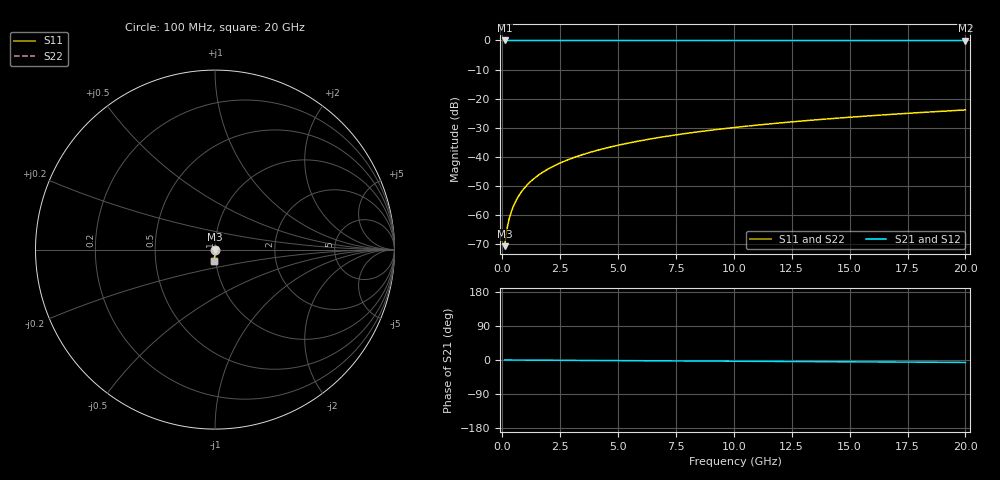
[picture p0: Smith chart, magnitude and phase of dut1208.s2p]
! Touchstone file exported from HFSS 2026.1.0
!  File:  C:/ffzhzh/LocalFiles/Ansys_Project_Files/temp_train_TSV_1208_1783192779_43440.aedt
!  Generated:  03:20:53 AM Jul  5, 2026
!  Design:  TSV
!  Project:  temp_train_TSV_1208_1783192779_43440
! Variables:
!  h_bsmrdl = 2um
!  h_ox = 20um
!  h_rdl = 5um
!  h_sub = 52.99um
!  h_tmrdl = 5um
!  h_tsv = 52.99um
!  h_via = 3um
!  l_bsmrdl = 300um
!  l_sub = 429.22um
!  l_tmrdl = 200um
!  m_sub = 200um
!  pitch = 36.56um
!  r_tsv = 14.61um
!  s_tmrdl = 10um
!  w_bsmrdl = 18um
!  w_sub = 500um
!  w_tmrdl = 12um
!  x_tsv_center1 = 206um
!  x_tsv_center2 = 524um
!  x_tsv_center3 = 736um
!  x_tsv_center4 = 1054um
!  x_tsv_center5 = 1266um
!  x_tsv_center6 = 1584um
# GHz S MA R 50.000000
! Terminal data exported
! Port[1] = TSV1_1_T1
! Port[2] = TSV1_1_T2
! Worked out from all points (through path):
!   200 points, 100 MHz to 20 GHz, reference 50 ohm
!   highest |S21| = 0.00 dB at 100 MHz (marker M1); lowest = 0.0 dB at 20 GHz (marker M2)
!   lowest |S11| = -70.7 dB at 100 MHz (marker M3), VSWR 1.00, Z = 50 - j0.0285 ohm
!   |S11| at or under -10 dB: start of sweep to end of sweep
!   |S22| runs from -70.7 to -23.9 dB; largest |S21 - S12| = 1e-15
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0.1  0.0002919 -77.4  0.9999 -0.0  0.9999 -0.0  0.0002919 -77.4
! Gamma 0 0 0 0
! Port Impedance 50 0 50 0
0.2  0.0005783 -82.5  0.9999 -0.1  0.9999 -0.1  0.0005783 -82.5
0.3  0.0008727 -83.9  0.9999 -0.1  0.9999 -0.1  0.0008727 -83.9
0.4  0.001174 -84.5  0.9999 -0.1  0.9999 -0.1  0.001174 -84.5
0.5  0.001481 -84.9  0.9999 -0.2  0.9999 -0.2  0.001481 -84.9
0.7  0.002107 -85.6  0.9998 -0.2  0.9998 -0.2  0.002107 -85.6
0.8  0.002423 -85.9  0.9998 -0.3  0.9998 -0.3  0.002423 -85.9
1  0.003059 -86.4  0.9998 -0.3  0.9998 -0.3  0.003059 -86.4
1.2  0.003697 -86.8  0.9998 -0.4  0.9998 -0.4  0.003697 -86.8
1.4  0.004335 -87.2  0.9997 -0.5  0.9997 -0.5  0.004335 -87.2
1.7  0.005291 -87.7  0.9997 -0.6  0.9997 -0.6  0.005291 -87.7
2  0.006247 -88.0  0.9997 -0.6  0.9997 -0.6  0.006247 -88.0
2.7  0.008477 -88.7  0.9996 -0.9  0.9996 -0.9  0.008477 -88.7
3.5  0.01103 -89.3  0.9996 -1.1  0.9996 -1.1  0.01103 -89.3
4.2  0.01326 -89.6  0.9995 -1.4  0.9995 -1.4  0.01326 -89.6
5  0.01583 -90.0  0.9994 -1.6  0.9994 -1.6  0.01583 -90.0
6.8  0.0216 -90.8  0.9993 -2.2  0.9993 -2.2  0.0216 -90.8
8.3  0.02642 -91.4  0.9991 -2.7  0.9991 -2.7  0.02642 -91.4
10.1  0.03221 -92.1  0.9989 -3.2  0.9989 -3.2  0.03221 -92.1
13.4  0.04281 -93.3  0.9984 -4.3  0.9984 -4.3  0.04281 -93.3
16.7  0.05341 -94.5  0.9978 -5.3  0.9978 -5.3  0.05341 -94.5
20  0.06398 -95.6  0.9971 -6.4  0.9971 -6.4  0.06398 -95.6
